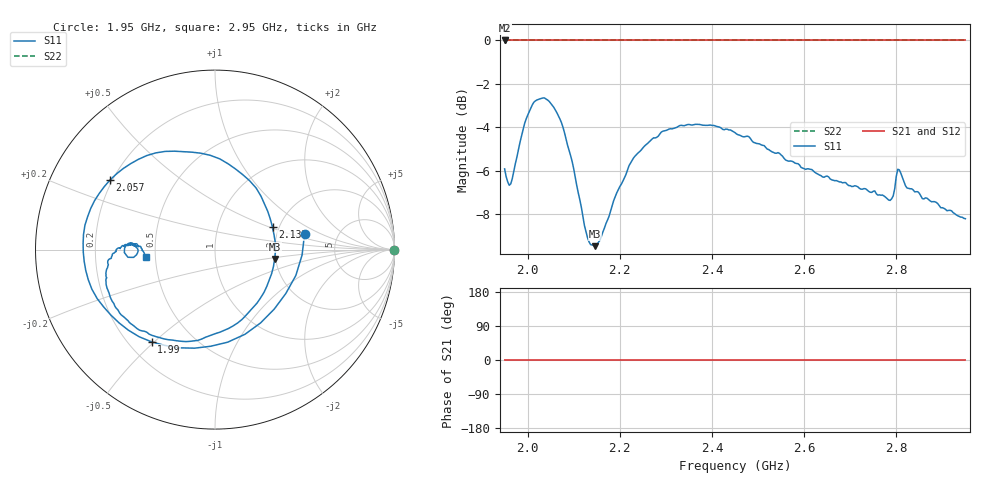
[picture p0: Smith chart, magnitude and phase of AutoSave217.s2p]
!Agilent N9923A: A.07.32
!Date: Thursday, 02 June 2016 03:31:25
!Model: N9923A
!Serial: MY52412257
!GPS Latitude:
!GPS Longitude:
!GPS TimeStamp: 0001-01-01 00:00:00Z
!GPS Seconds Since Last Read: 0
!CHECKSUM:1111377805
!Correction: S11(ON U)S21()S12()S22()
!S2P File: Measurements:S11,S21,S12,S22:
# Hz S DB R 50
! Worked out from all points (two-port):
!   301 points, 1.95 GHz to 2.95 GHz, reference 50 ohm
!   highest |S21| = 0.00 dB at 1.95 GHz (marker M1); lowest = 0.0 dB at 1.95 GHz (marker M2)
!   |S21| within 3 dB of the highest: start of sweep to end of sweep
!   lowest |S11| = -9.5 dB at 2.147 GHz (marker M3), VSWR 2.01, Z = 98.8 - j11.6 ohm
!   |S11| at or under -10 dB: nowhere
!   |S22| runs from 0.0 to 0.0 dB; largest |S21 - S12| = 0
!   S11 on the Smith chart (normalised r, x): 1.95 GHz: 2.88, +0.67; 1.99 GHz: 0.29, -0.49; 2.057 GHz: 0.19, +0.29; 2.133 GHz: 1.85, +0.52; 2.95 GHz: 0.44, -0.04
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1.95e9  -5.91 9.9  0.00 0.0  0.00 0.0  0.00 0.0
1.956667e9  -6.50 -17.7  0.00 0.0  0.00 0.0  0.00 0.0
1.97e9  -6.01 -70.5  0.00 0.0  0.00 0.0  0.00 0.0
1.99e9  -4.10 -124.5  0.00 0.0  0.00 0.0  0.00 0.0
2.003333e9  -3.29 -147.8  0.00 0.0  0.00 0.0  0.00 0.0
2.02e9  -2.74 -170.9  0.00 0.0  0.00 0.0  0.00 0.0
2.036667e9  -2.65 169.4  0.00 0.0  0.00 0.0  0.00 0.0
2.056667e9  -3.07 146.5  0.00 0.0  0.00 0.0  0.00 0.0
2.073333e9  -3.78 125.9  0.00 0.0  0.00 0.0  0.00 0.0
2.09e9  -5.06 103.4  0.00 0.0  0.00 0.0  0.00 0.0
2.12e9  -8.12 49.2  0.00 0.0  0.00 0.0  0.00 0.0
2.133333e9  -9.27 21.3  0.00 0.0  0.00 0.0  0.00 0.0
2.146667e9  -9.47 -8.9  0.00 0.0  0.00 0.0  0.00 0.0
2.17e9  -8.42 -51.9  0.00 0.0  0.00 0.0  0.00 0.0
2.2e9  -6.73 -86.6  0.00 0.0  0.00 0.0  0.00 0.0
2.286667e9  -4.31 -131.9  0.00 0.0  0.00 0.0  0.00 0.0
2.366667e9  -3.86 -154.1  0.00 0.0  0.00 0.0  0.00 0.0
2.453333e9  -4.30 -170.2  0.00 0.0  0.00 0.0  0.00 0.0
2.62e9  -6.00 176.8  0.00 0.0  0.00 0.0  0.00 0.0
2.783333e9  -7.34 179.9  0.00 0.0  0.00 0.0  0.00 0.0
2.803333e9  -5.93 -178.1  0.00 0.0  0.00 0.0  0.00 0.0
2.95e9  -8.20 -173.9  0.00 0.0  0.00 0.0  0.00 0.0
